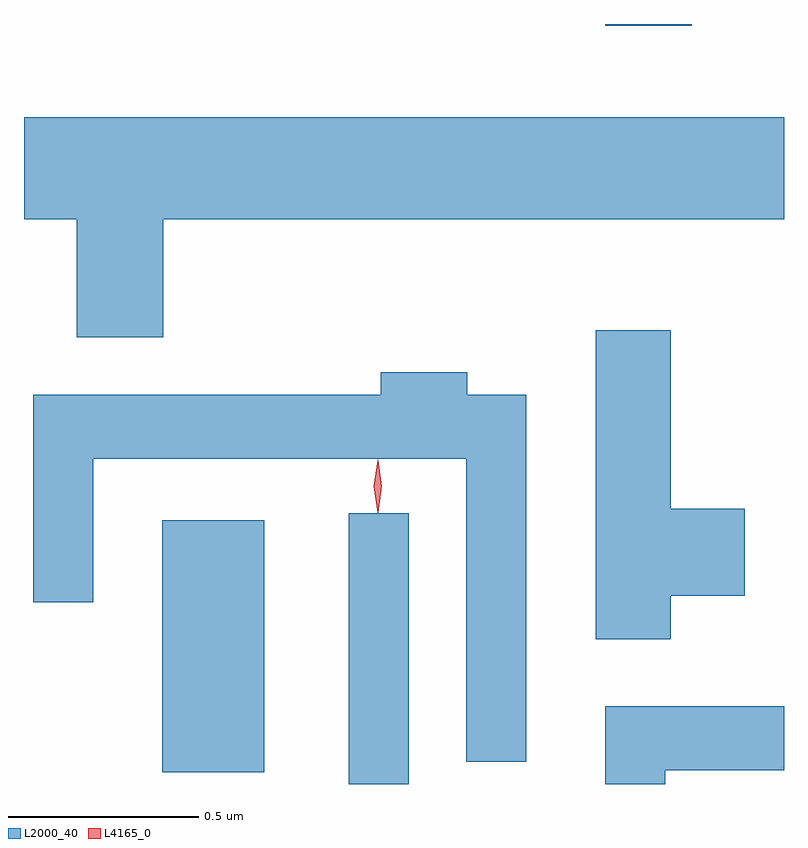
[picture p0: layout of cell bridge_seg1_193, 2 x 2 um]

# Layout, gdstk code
import gdstk
lib = gdstk.Library(unit=1e-6, precision=1e-09)
def R(c, l, rs):  # rectangles x0, y0, x1, y1
    for r in rs: c.add(gdstk.rectangle(r[:2], r[2:], *l))
def P(c, l, *ps):  # polygons
    for p in ps: c.add(gdstk.Polygon(p, *l))
L2000_40 = (2000, 40)
L4165_0 = (4165, 0)

bridge_seg1_193 = lib.new_cell('bridge_seg1_193')
R(bridge_seg1_193, L2000_40, [(766.686,942.49,766.844,943.203), (766.196,942.521,766.464,943.184), (767.361,944.486,767.589,944.49)])
P(bridge_seg1_193, L2000_40, [(766.199,943.976),(767.832,943.976),(767.832,944.244),(765.832,944.244),(765.832,943.976),(765.971,943.976),(765.971,943.666),(766.199,943.666)],
  [(767.534,942.986),(767.729,942.986),(767.729,943.214),(767.534,943.214),(767.534,943.684),(767.336,943.684),(767.336,942.871),(767.534,942.871)],
  [(767.154,943.514),(766.999,943.514),(766.999,943.574),(766.771,943.574),(766.771,943.514),(765.856,943.514),(765.856,942.968),(766.014,942.968),(766.014,943.346),(766.996,943.346),(766.996,942.548),(767.154,942.548)],
  [(767.519,942.526),(767.832,942.526),(767.832,942.694),(767.361,942.694),(767.361,942.49),(767.519,942.49)])
P(bridge_seg1_193, L4165_0, [(766.763,943.204),(766.763,943.204),(766.753,943.273),(766.763,943.342),(766.763,943.343),(766.764,943.342),(766.773,943.273),(766.764,943.204)],
  [(766.763,943.207),(766.754,943.274),(766.763,943.34),(766.764,943.34),(766.764,943.34),(766.774,943.274),(766.764,943.207),(766.764,943.207)])

lib.write_gds('bridge_seg1_193.gds')
